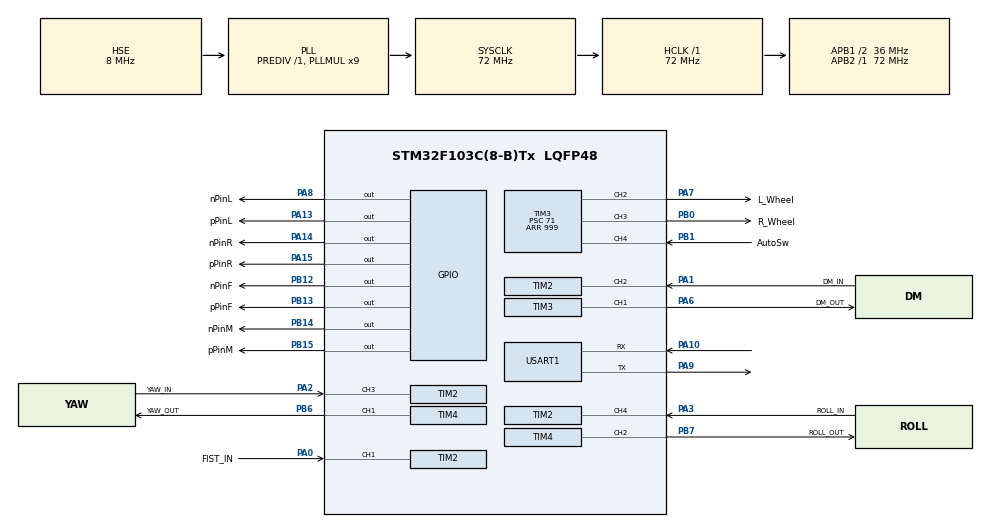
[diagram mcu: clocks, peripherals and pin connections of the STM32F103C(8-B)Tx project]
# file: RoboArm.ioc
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Mcu.Family=STM32F1
Mcu.Name=STM32F103C(8-B)Tx
Mcu.Package=LQFP48
NVIC.PriorityGroup=NVIC_PRIORITYGROUP_4
NVIC.TIM2_IRQn=true\:1\:0\:true
NVIC.TIM3_IRQn=true\:0\:0\:true
NVIC.TIM4_IRQn=true\:0\:0\:true
NVIC.USART1_IRQn=true\:0\:0\:false
PA0-WKUP.GPIO_Label=FIST_IN
PA0-WKUP.Signal=S_TIM2_CH1_ETR
PA1.GPIO_Label=DM_IN
PA1.Signal=S_TIM2_CH2
PA10.Mode=Asynchronous
PA10.Signal=USART1_RX
PA13.GPIO_Label=pPinL
PA13.Signal=GPIO_Output
PA14.GPIO_Label=nPinR
PA14.Signal=GPIO_Output
PA15.GPIO_Label=pPinR
PA15.Signal=GPIO_Output
PA2.GPIO_Label=YAW_IN
PA2.Signal=S_TIM2_CH3
PA3.GPIO_Label=ROLL_IN
PA3.Signal=S_TIM2_CH4
PA6.GPIO_Label=DM_OUT
PA6.Signal=S_TIM3_CH1
PA7.GPIO_Label=L_Wheel
PA7.Signal=S_TIM3_CH2
PA8.GPIO_Label=nPinL
PA8.Signal=GPIO_Output
PA9.Mode=Asynchronous
PA9.Signal=USART1_TX
PB0.GPIO_Label=R_Wheel
PB0.Signal=S_TIM3_CH3
PB1.GPIO_Label=AutoSw
PB1.Signal=S_TIM3_CH4
PB12.GPIO_Label=nPinF
PB12.Signal=GPIO_Output
PB13.GPIO_Label=pPinF
PB13.Signal=GPIO_Output
PB14.GPIO_Label=nPinM
PB14.Signal=GPIO_Output
PB15.GPIO_Label=pPinM
PB15.Signal=GPIO_Output
PB6.GPIO_Label=YAW_OUT
PB6.Signal=S_TIM4_CH1
PB7.GPIO_Label=ROLL_OUT
PB7.Signal=S_TIM4_CH2
PD0-OSC_IN.Mode=HSE-External-Oscillator
PD0-OSC_IN.Signal=RCC_OSC_IN
PD1-OSC_OUT.Mode=HSE-External-Oscillator
PD1-OSC_OUT.Signal=RCC_OSC_OUT
ProjectManager.TargetToolchain=MDK-ARM V5
RCC.AHBFreq_Value=72000000
RCC.APB1CLKDivider=RCC_HCLK_DIV2
RCC.APB1Freq_Value=36000000
RCC.APB1TimFreq_Value=72000000
RCC.APB2Freq_Value=72000000
RCC.APB2TimFreq_Value=72000000
RCC.HCLKFreq_Value=72000000
RCC.HSIState=RCC_HSI_ON
RCC.PLLMUL=RCC_PLL_MUL9
RCC.PLLSourceVirtual=RCC_PLLSOURCE_HSE
RCC.SYSCLKFreq_VALUE=72000000
RCC.SYSCLKSource=RCC_SYSCLKSOURCE_PLLCLK
RCC.USBFreq_Value=72000000
SH.S_TIM2_CH1_ETR.0=TIM2_CH1,Input_Capture1_from_TI1
SH.S_TIM2_CH2.0=TIM2_CH2,Input_Capture2_from_TI2
SH.S_TIM2_CH3.0=TIM2_CH3,Input_Capture3_from_TI3
SH.S_TIM2_CH4.0=TIM2_CH4,Input_Capture4_from_TI4
SH.S_TIM3_CH1.0=TIM3_CH1,PWM Generation1 CH1
SH.S_TIM3_CH2.0=TIM3_CH2,PWM Generation2 CH2
SH.S_TIM3_CH3.0=TIM3_CH3,PWM Generation3 CH3
SH.S_TIM3_CH4.0=TIM3_CH4,Input_Capture4_from_TI4
SH.S_TIM4_CH1.0=TIM4_CH1,PWM Generation1 CH1
SH.S_TIM4_CH2.0=TIM4_CH2,PWM Generation2 CH2
TIM2.Channel-Input_Capture2_from_TI2=TIM_CHANNEL_2
TIM2.Channel-Input_Capture3_from_TI3=TIM_CHANNEL_3
TIM2.Channel-Input_Capture4_from_TI4=TIM_CHANNEL_4
TIM2.ICFilter_CH1=15
TIM2.ICFilter_CH2=15
TIM2.ICFilter_CH3=15
TIM2.ICFilter_CH4=15
TIM3.Channel-Input_Capture4_from_TI4=TIM_CHANNEL_4
TIM3.Channel-PWM\ Generation2\ CH2=TIM_CHANNEL_2
TIM3.Channel-PWM\ Generation3\ CH3=TIM_CHANNEL_3
TIM3.Period=999
TIM3.Prescaler=71
TIM3.Pulse-PWM\ Generation1\ CH1=1
TIM3.Pulse-PWM\ Generation2\ CH2=1
TIM3.Pulse-PWM\ Generation3\ CH3=1
TIM4.Channel-PWM\ Generation2\ CH2=TIM_CHANNEL_2
TIM4.Period=19999
TIM4.Prescaler=71
TIM4.Pulse-PWM\ Generation1\ CH1=1499
TIM4.Pulse-PWM\ Generation2\ CH2=1499
VP_TIM2_VS_ClockSourceINT.Mode=Internal
VP_TIM3_VS_ClockSourceINT.Mode=Internal
board=RoboArm

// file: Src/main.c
/**
  ******************************************************************************
  * File Name          : main.c
  * Description        : Main program body
  ******************************************************************************
  *
  * COPYRIGHT(c) 2016 STMicroelectronics
  *
  * Redistribution and use in source and binary forms, with or without modification,
  * are permitted provided that the following conditions are met:
  *   1. Redistributions of source code must retain the above copyright notice,
  *      this list of conditions and the following disclaimer.
  *   2. Redistributions in binary form must reproduce the above copyright notice,
  *      this list of conditions and the following disclaimer in the documentation
  *      and/or other materials provided with the distribution.
  *   3. Neither the name of STMicroelectronics nor the names of its contributors
  *      may be used to endorse or promote products derived from this software
  *      without specific prior written permission.
  *
  * THIS SOFTWARE IS PROVIDED BY THE COPYRIGHT HOLDERS AND CONTRIBUTORS "AS IS"
  * AND ANY EXPRESS OR IMPLIED WARRANTIES, INCLUDING, BUT NOT LIMITED TO, THE
  * IMPLIED WARRANTIES OF MERCHANTABILITY AND FITNESS FOR A PARTICULAR PURPOSE ARE
  * DISCLAIMED. IN NO EVENT SHALL THE COPYRIGHT HOLDER OR CONTRIBUTORS BE LIABLE
  * FOR ANY DIRECT, INDIRECT, INCIDENTAL, SPECIAL, EXEMPLARY, OR CONSEQUENTIAL
  * DAMAGES (INCLUDING, BUT NOT LIMITED TO, PROCUREMENT OF SUBSTITUTE GOODS OR
  * SERVICES; LOSS OF USE, DATA, OR PROFITS; OR BUSINESS INTERRUPTION) HOWEVER
  * CAUSED AND ON ANY THEORY OF LIABILITY, WHETHER IN CONTRACT, STRICT LIABILITY,
  * OR TORT (INCLUDING NEGLIGENCE OR OTHERWISE) ARISING IN ANY WAY OUT OF THE USE
  * OF THIS SOFTWARE, EVEN IF ADVISED OF THE POSSIBILITY OF SUCH DAMAGE.
  *
  ******************************************************************************
  */
#include "stm32f1xx_hal.h"
#include "tim.h"
#include "usart.h"
#include "gpio.h"

/* USER CODE BEGIN Includes */
#include "RoboArm.h"
/* USER CODE END Includes */

signal_t ctrl_data;	//控制信号结构体
/* USER CODE BEGIN PV */
/* Private variables ---------------------------------------------------------*/

/* USER CODE END PV */

void SystemClock_Config(void);

/* USER CODE BEGIN PFP */
/* Private function prototypes -----------------------------------------------*/

/* USER CODE END PFP */

/* USER CODE BEGIN 0 */
void SignalFillIn(signal_t *data)//while(1)中填充结构体
{
	if (Tim2Ch3.Frequency/200 < 87 || Tim2Ch3.Frequency/200 > 179 \
		|| Tim2Ch4.Frequency/200 < 87 || Tim2Ch4.Frequency/200 > 179 \
		/*|| Tim2Ch1.Frequency/200 < 87 || Tim2Ch1.Frequency/200 > 179 \
		|| Tim2Ch2.Frequency/200 < 87 || Tim2Ch2.Frequency/200 > 179*/) \
		return;
	data->FIST_IN = Tim2Ch1.Frequency / 200;
	data->DM_IN = Tim2Ch2.Frequency / 200;
	data->YAW_IN = Tim2Ch3.Frequency / 200;
	data->ROLL_IN = Tim2Ch4.Frequency / 200;
	data->AutoSw = Tim3Ch4.Frequency / 200;
}
/* USER CODE END 0 */
void getcha(char ch[9],uint16_t in)
{
	int i;
	for(i=7;i>=0;i--)
	{
		ch[i]=in%10+'0'-0;
		in=in/10;
	}
	ch[8] = '\n';
}

int main(void)
{

  /* MCU Configuration----------------------------------------------------------*/

  /* Reset of all peripherals, Initializes the Flash interface and the Systick. */
  HAL_Init();

  /* Configure the system clock */
  SystemClock_Config();

  /* Initialize all configured peripherals */
  MX_GPIO_Init();
  MX_TIM2_Init();
  MX_TIM3_Init();
  MX_TIM4_Init();
  MX_USART1_UART_Init();

  /* USER CODE BEGIN 2 */
	HAL_Delay(1000);
	Initialize();//全部赋初值0
  /* USER CODE END 2 */

  /* Infinite loop */
  /* USER CODE BEGIN WHILE */
	captureStart();//启动Input Capture通道
	HAL_Delay(100);

  while (1)
  {
		SignalFillIn(&ctrl_data);
		readControl(ctrl_data);//转移到RoboArm.c的逻辑主体
  /* USER CODE END WHILE */

  }

}

/** System Clock Configuration
*/
void SystemClock_Config(void)
{

  RCC_OscInitTypeDef RCC_OscInitStruct;
  RCC_ClkInitTypeDef RCC_ClkInitStruct;

  RCC_OscInitStruct.OscillatorType = RCC_OSCILLATORTYPE_HSE;
  RCC_OscInitStruct.HSEState = RCC_HSE_ON;
  RCC_OscInitStruct.HSEPredivValue = RCC_HSE_PREDIV_DIV1;
  RCC_OscInitStruct.PLL.PLLState = RCC_PLL_ON;
  RCC_OscInitStruct.PLL.PLLSource = RCC_PLLSOURCE_HSE;
  RCC_OscInitStruct.PLL.PLLMUL = RCC_PLL_MUL9;
  HAL_RCC_OscConfig(&RCC_OscInitStruct);

  RCC_ClkInitStruct.ClockType = RCC_CLOCKTYPE_SYSCLK|RCC_CLOCKTYPE_PCLK1;
  RCC_ClkInitStruct.SYSCLKSource = RCC_SYSCLKSOURCE_PLLCLK;
  RCC_ClkInitStruct.AHBCLKDivider = RCC_SYSCLK_DIV1;
  RCC_ClkInitStruct.APB1CLKDivider = RCC_HCLK_DIV2;
  RCC_ClkInitStruct.APB2CLKDivider = RCC_HCLK_DIV1;
  HAL_RCC_ClockConfig(&RCC_ClkInitStruct, FLASH_LATENCY_2);

  HAL_SYSTICK_Config(HAL_RCC_GetHCLKFreq()/1000);

  HAL_SYSTICK_CLKSourceConfig(SYSTICK_CLKSOURCE_HCLK);

  /* SysTick_IRQn interrupt configuration */
  HAL_NVIC_SetPriority(SysTick_IRQn, 0, 0);
}

/************************ (C) COPYRIGHT STMicroelectronics *****END OF FILE****/
